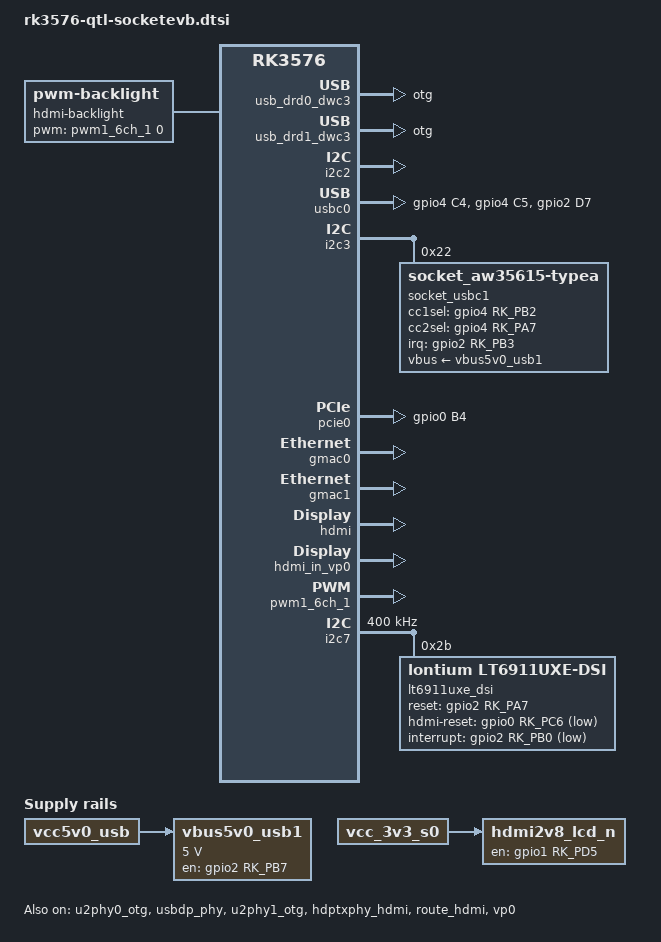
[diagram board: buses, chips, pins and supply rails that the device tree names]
// SPDX-License-Identifier: (GPL-2.0+ OR MIT)

/ {
	vbus5v0_usb1: vbus5v0-usb1 {
		compatible = "regulator-fixed";
		regulator-name = "vbus5v0_usb1";
		regulator-min-microvolt = <5000000>;
		regulator-max-microvolt = <5000000>;
		enable-active-high;
		gpio = <&gpio2 RK_PB7 GPIO_ACTIVE_HIGH>;
		vin-supply = <&vcc5v0_usb>;
		pinctrl-names = "default";
		pinctrl-0 = <&usb_otg1_socket_pwren>;
	};

	hdmi-backlight {
		compatible = "pwm-backlight";
		pwms = <&pwm1_6ch_1 0 25000 0>;
		brightness-levels = <
			  0  20  20  21  21  22  22  23
			 23  24  24  25  25  26  26  27
			 27  28  28  29  29  30  30  31
			 31  32  32  33  33  34  34  35
			 35  36  36  37  37  38  38  39
			 40  41  42  43  44  45  46  47
			 48  49  50  51  52  53  54  55
			 56  57  58  59  60  61  62  63
			 64  65  66  67  68  69  70  71
			 72  73  74  75  76  77  78  79
			 80  81  82  83  84  85  86  87
			 88  89  90  91  92  93  94  95
			 96  97  98  99 100 101 102 103
			104 105 106 107 108 109 110 111
			112 113 114 115 116 117 118 119
			120 121 122 123 124 125 126 127
			128 129 130 131 132 133 134 135
			136 137 138 139 140 141 142 143
			144 145 146 147 148 149 150 151
			152 153 154 155 156 157 158 159
			160 161 162 163 164 165 166 167
			168 169 170 171 172 173 174 175
			176 177 178 179 180 181 182 183
			184 185 186 187 188 189 190 191
			192 193 194 195 196 197 198 199
			200 201 202 203 204 205 206 207
			208 209 210 211 212 213 214 215
			216 217 218 219 220 221 222 223
			224 225 226 227 228 229 230 231
			232 233 234 235 236 237 238 239
			240 241 242 243 244 245 246 247
			248 249 250 251 252 253 254 255
		>;
		default-brightness-level = <220>;
		status = "okay";
	};

	hdmi2v8_lcd_n: hdmi2v8-lcd0-n {
		compatible = "regulator-fixed";
		regulator-name = "hdmi2v8_lcd_n";
		regulator-always-on;
		regulator-boot-on;
		enable-active-high;
		gpio = <&gpio1 RK_PD5 GPIO_ACTIVE_HIGH>;
		vin-supply = <&vcc_3v3_s0>;
	};
};

/delete-node/ &vbus5v0_typec_evb;
/delete-node/ &vcc_3v3_en0;
/delete-node/ &vcc_3v3_en1;

&adc_keys_ch5 {
	ch5-reserved-key {
		label = "adc5_reserved";
		linux,code = <KEY_RESERVED>;
		press-threshold-microvolt = <17000>;
	};
};

&v_down_key {
	press-threshold-microvolt = <45000>;
};

&u2phy0_otg {
	vbus-supply = <&vbus5v0_typec>;
	/delete-property/ rockchip,typec-vbus-det;
	status = "okay";
};

&usb_drd0_dwc3 {
	dr_mode = "otg";
	status = "okay";
};

&usbdp_phy {
	rockchip,dp-lane-mux = <0 1>;
	ssmux-gpios = <&gpio4 RK_PB0 GPIO_ACTIVE_HIGH>;
	pinctrl-names = "default";
	pinctrl-0 = <&usb_otg0_ssmux>;
	status = "okay";
	/delete-property/ sbu1-dc-gpios;
	/delete-property/ sbu2-dc-gpios;
	/delete-property/ orientation-switch;
	/delete-property/ svid;
	/delete-node/ port;
};

&u2phy1_otg {
	vbus-supply = <&vbus5v0_usb1>;
	status = "okay";
};

&usb_drd1_dwc3 {
	dr_mode = "otg";
	extcon = <&u2phy1>;
	snps,dis_u2_susphy_quirk;
	snps,usb2-lpm-disable;
	status = "okay";
	/delete-property/ usb-role-switch;
	/delete-node/ port;
};

&i2c2 {
	status = "okay";
	pinctrl-names = "default";
	pinctrl-0 = <&i2c2m0_xfer>;
	/delete-node/ pericom_30216c@1d;
};

&usbc0 {
	compatible = "socket_aw35615-typec";
	pinctrl-0 = <&usbc0_int>,
		    <&usb_otg0_pupdctl1>,
		    <&usb_otg0_pupdctl2>,
		    <&usb_otg0_gpio2d7>;
	pupdctl1-gpios = <&gpio4 RK_PC4 GPIO_ACTIVE_HIGH>;
	pupdctl2-gpios = <&gpio4 RK_PC5 GPIO_ACTIVE_HIGH>;
	gpio2d7-gpios = <&gpio2 RK_PD7 GPIO_ACTIVE_HIGH>;
	status = "okay";
	/delete-node/ connector;
};

&i2c3 {
	status = "okay";
	pinctrl-names = "default";
	pinctrl-0 = <&i2c3m0_xfer>;

	socket_usbc1: aw35615@22 {
		compatible = "socket_aw35615-typea";
		reg = <0x22>;
		interrupt-parent = <&gpio2>;
		interrupts = <RK_PB3 IRQ_TYPE_LEVEL_LOW>;
		pinctrl-names = "default";
		pinctrl-0 = <&usbc1_socket_int>,
			    <&usb1_cc1_sel>,
			    <&usb1_cc2_sel>;
		cc1sel-gpios = <&gpio4 RK_PB2 GPIO_ACTIVE_HIGH>;
		cc2sel-gpios = <&gpio4 RK_PA7 GPIO_ACTIVE_HIGH>;
		vbus-supply = <&vbus5v0_usb1>;
		extcon = <&u2phy1>;
		status = "okay";
	};
};

&vcc3v3_pcie0 {
	gpio = <&gpio3 RK_PA3 GPIO_ACTIVE_HIGH>;
	pinctrl-names = "default";
	pinctrl-0 = <&pcie0_power_en>;
	enable-active-high;
	/delete-property/ regulator-always-on;
	status = "okay";
};

&pcie0 {
	pinctrl-0 = <&pcie0_perst>;
	/delete-property/ rockchip,skip-scan-in-resume;
	status = "okay";
};

&gmac0 {
	status = "okay";
};

&gmac1 {
	status = "okay";
};

&es8389_sound {
	status = "disabled";
};

&codec_vdd3v3 {
	status = "disabled";
};

&speak_pa_en {
	status = "disabled";
};

&es8389 {
	status = "disabled";
};

&sai1 {
	status = "disabled";
};

&sai2 {
	status = "disabled";
};

&spdif_tx3 {
	status = "disabled";
};

&sdio_pwrseq {
	status = "disabled";
};

&wireless_wlan {
	status = "disabled";
};

&wireless_bluetooth {
	status = "disabled";
};

&sdio {
	status = "disabled";
};

&can0 {
	status = "disabled";
};

&rtc {
	status = "disabled";
};

//&s5k3p9 {
	//status = "disabled";
//};

//&s5k3p9b {
	//status = "disabled";
//};

&hdmi {
	status = "okay";
	enable-gpios = <&gpio4 RK_PC6 GPIO_ACTIVE_HIGH>;
	pinctrl-0 = <&hdmi_txm0_pins &hdmi_tx_scl &hdmi_tx_sda>;
	force-hpd;
	force-output;

	force_timing {
		clock-frequency = <71000000>;
		hactive = <720>;
		vactive = <1280>;
		hfront-porch = <60>;
		hsync-len = <20>;
		hback-porch = <90>;
		vfront-porch = <24>;
		vsync-len = <4>;
		vback-porch = <24>;
		hsync-active = <0>;
		vsync-active = <0>;
		de-active = <0>;
		pixelclk-active = <1>;
	};
};

&hdptxphy_hdmi {
	status = "okay";
};

&hdmi_in_vp0 {
	status = "okay";
};

&hdmi_in_vp1 {
	status = "disabled";
};

&hdmi_in_vp2 {
	status = "disabled";
};

&route_hdmi {
	status = "okay";
	connect = <&vp0_out_hdmi>;
	force-output;

	force_timing {
		clock-frequency = <71000000>;
		hactive = <720>;
		vactive = <1280>;
		hfront-porch = <60>;
		hsync-len = <20>;
		hback-porch = <90>;
		vfront-porch = <24>;
		vsync-len = <4>;
		vback-porch = <24>;
		hsync-active = <0>;
		vsync-active = <0>;
		de-active = <0>;
		pixelclk-active = <1>;
	};
};

&vp0 {
	status = "okay";
};

&hdmi2v8_lcd_n {
	gpio = <&gpio1 RK_PD5 GPIO_ACTIVE_HIGH>;
	pinctrl-names = "default";
	pinctrl-0 = <&lt6911uxe_lcd_power_en>;
};

&pwm1_6ch_1 {
	status = "okay";
	pinctrl-0 = <&pwm1m0_ch1>;
};

// &pwm0_2ch_0 {
// 	status = "disabled";
// };

&i2c7 {
	status = "okay";
	pinctrl-names = "default";
	pinctrl-0 = <&i2c7m1_xfer>;
	clock-frequency = <400000>;

	lt6911uxe_dsi: lt6911uxe-dsi@2b {
		compatible = "lontium,lt6911uxe-dsi";
		status = "okay";
		reg = <0x2b>;
		pinctrl-names = "default";
		pinctrl-0 = <&lt6911uxe_reset &lt6911uxe_int>;
		reset-gpios = <&gpio2 RK_PA7 GPIO_ACTIVE_HIGH>;
		hdmi-reset-gpios = <&gpio0 RK_PC6 GPIO_ACTIVE_LOW>;
		interrupt-gpios = <&gpio2 RK_PB0 GPIO_ACTIVE_LOW>;
		firmware-name = "LT6911D_YY_MIPI_DSI_1P4L_26041601_CSx34797E_CRCx43.bin";
	};
};

&hdptxphy_hdmi {
	status = "okay";
};

&hdmi_in_vp0 {
	status = "okay";
};

&hdmi_in_vp1 {
	status = "disabled";
};

&hdmi_in_vp2 {
	status = "disabled";
};

&edp {
	status = "disabled";
};

&edp_in_vp0 {
	status = "disabled";
};

&edp_in_vp1 {
	status = "disabled";
};

&edp_in_vp2 {
	status = "disabled";
};

&route_edp {
	status = "disabled";
};

&hdptxphy {
	status = "disabled";
};

&pinctrl {
	usb-socket {
		usbc1_socket_int: usbc1-socket-int {
			rockchip,pins = <2 RK_PB3 RK_FUNC_GPIO &pcfg_pull_up>;
		};

		usb_otg0_pupdctl1: usb-otg0-pupdctl1 {
			rockchip,pins = <4 RK_PC4 RK_FUNC_GPIO &pcfg_pull_none>;
		};

		usb_otg0_pupdctl2: usb-otg0-pupdctl2 {
			rockchip,pins = <4 RK_PC5 RK_FUNC_GPIO &pcfg_pull_none>;
		};

		usb_otg0_gpio2d7: usb-otg0-gpio2d7 {
			rockchip,pins = <2 RK_PD7 RK_FUNC_GPIO &pcfg_pull_none>;
		};

		usb_otg0_ssmux: usb-otg0-ssmux {
			rockchip,pins = <4 RK_PB0 RK_FUNC_GPIO &pcfg_pull_none>;
		};

		usb_otg1_socket_pwren: usb-otg1-socket-pwren {
			rockchip,pins = <2 RK_PB7 RK_FUNC_GPIO &pcfg_pull_none>;
		};

		usb1_cc1_sel: usb1-cc1-sel {
			rockchip,pins = <4 RK_PB2 RK_FUNC_GPIO &pcfg_pull_none>;
		};

		usb1_cc2_sel: usb1-cc2-sel {
			rockchip,pins = <4 RK_PA7 RK_FUNC_GPIO &pcfg_pull_none>;
		};
	};

	pcie0-socket {
		pcie0_power_en: pcie0-power-en {
			rockchip,pins = <3 RK_PA3 RK_FUNC_GPIO &pcfg_pull_none>;
		};

		pcie0_perst: pcie0-perst {
			rockchip,pins = <0 RK_PB4 RK_FUNC_GPIO &pcfg_pull_down>;
		};
	};

	lt6911uxe_dsi {
		lt6911uxe_lcd_power_en: lt6911uxe-lcd-power-en {
			rockchip,pins = <1 RK_PD5 RK_FUNC_GPIO &pcfg_output_high>;
		};

		lt6911uxe_reset: lt6911uxe-reset {
			rockchip,pins = <2 RK_PA7 RK_FUNC_GPIO &pcfg_pull_none>;
		};

		lt6911uxe_int: lt6911uxe-int {
			rockchip,pins = <2 RK_PB0 RK_FUNC_GPIO &pcfg_pull_up>;
		};
	};

	hdmilcd {
		hdmi_rst: hdmi-rst {
			rockchip,pins = <0 RK_PC6 RK_FUNC_GPIO &pcfg_pull_up>;
		};
	};
};
